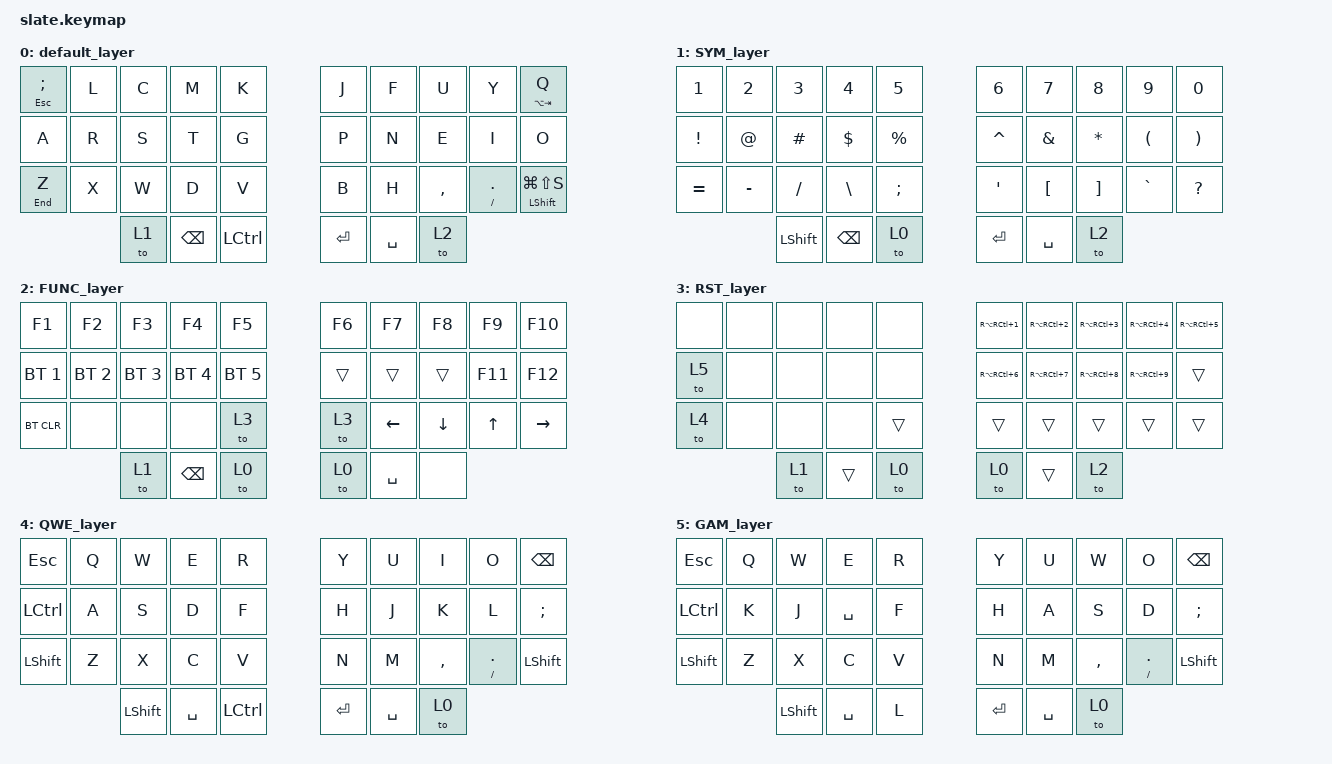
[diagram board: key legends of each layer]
/*.
 * Copyright (c) 2020 The ZMK Contributors
 *
 * SPDX-License-Identifier: MIT
 */

#include <behaviors.dtsi>
#include <dt-bindings/zmk/keys.h>
#include <dt-bindings/zmk/bt.h>

#define SYM 1
#define FUNC 2
#define RST 3
#define QWE 4
#define GAM 5
&mt {
    tapping-term-ms = <400>;
};

/ {
    combos {
        compatible = "zmk,combos";
        combo_btld {
            timeout-ms = <50>;
            layers = <3>;
            key-positions = <0 1 2 3 4>;
            bindings = <&bootloader>; 
        

        };
    };
};

/ {
        keymap {
                compatible = "zmk,keymap";

                default_layer {

                        bindings = <
   &mt ESC SEMI &kp L &kp C &kp M &kp K   &kp J &kp F  &kp U     &kp Y   &mt LA(TAB) Q
   &kp A &kp R &kp S &kp T &kp G        &kp P &kp N  &kp E     &kp I   &kp O
   &mt END Z &kp X &kp W &kp D &kp V        &kp B &kp H  &kp COMMA &mt FSLH DOT &mt LSHFT LG(LS(S))
         &to 1  &kp BSPC &kp LCTRL      &kp ENTER &kp SPACE &to 2
                        >;
                };
                SYM_layer {

                        bindings = <
   &kp N1   &kp N2      &kp N3  &kp N4 &kp N5     &kp N6  &kp N7 &kp N8   &kp N9   &kp N0
   &kp EXCL &kp AT &kp HASH &kp DLLR &kp PRCNT      &kp CARET &kp AMPS &kp ASTRK &kp LPAR &kp RPAR
   &kp EQUAL &kp MINUS &kp FSLH &kp BSLH &kp SEMI     &kp APOS &kp LBKT  &kp RBKT   &kp GRAVE    &kp QMARK
                     &kp LSHFT &kp BSPC  &to 0          &kp ENTER  &kp SPACE &to 2  
                        >;
                };

                FUNC_layer {

                        bindings = <
   &kp F1  &kp F2    &kp F3  &kp F4  &kp F5                                         &kp F6 &kp F7  &kp F8 &kp F9 &kp F10
   &bt BT_SEL 1    &bt BT_SEL 2    &bt BT_SEL 3    &bt BT_SEL 4    &bt BT_SEL 5     &trans &trans &trans   &kp F11 &kp F12
   &bt BT_CLR    &none    &none    &none    &to 3                              &to 3   &kp LEFT  &kp DOWN   &kp UP    &kp RIGHT
                        &to 1  &kp BSPC &to 0                                       &to 0   &kp SPACE &none  
                        >;
                };


                RST_layer {

                        bindings = <
   &none &none &none &none &none  &kp RA(RC(N1)) &kp RA(RC(N2)) &kp RA(RC(N3)) &kp RA(RC(N4)) &kp RA(RC(N5)) 
   &to 5 &none &none &none &none  &kp RA(RC(N6)) &kp RA(RC(N7)) &kp RA(RC(N8)) &kp RA(RC(N9)) &trans 
  &to 4 &none &none &none &trans  &trans &trans &trans &trans &trans   
                 &to 1 &trans &to 0        &to 0 &trans &to 2 
                        >;
               };       
                        
                QWE_layer {

                        bindings = <
  &kp ESC  &kp Q &kp W &kp E &kp R   &kp Y &kp U  &kp I     &kp O   &kp BSPC
  &kp LCTRL &kp A &kp S &kp D &kp F        &kp H &kp J  &kp K     &kp L   &kp SEMI
  &kp LSHFT  &kp Z &kp X &kp C &kp V      &kp N &kp M  &kp COMMA &mt FSLH DOT &kp LSHFT
         &kp LSHFT  &kp SPACE &kp LCTRL      &kp ENTER &kp SPACE &to 0
                        >;
           };

                GAM_layer {

                        bindings = <
  &kp ESC  &kp Q &kp W &kp E &kp R   &kp Y &kp U  &kp W     &kp O   &kp BSPC
  &kp LCTRL &kp K &kp J &kp SPACE &kp F        &kp H &kp A  &kp S     &kp D   &kp SEMI
  &kp LSHFT  &kp Z &kp X &kp C &kp V      &kp N &kp M  &kp COMMA &mt FSLH DOT &kp LSHFT
         &kp LSHFT  &kp SPACE &kp L      &kp ENTER &kp SPACE &to 0
                        >;

                  };
               };

};
